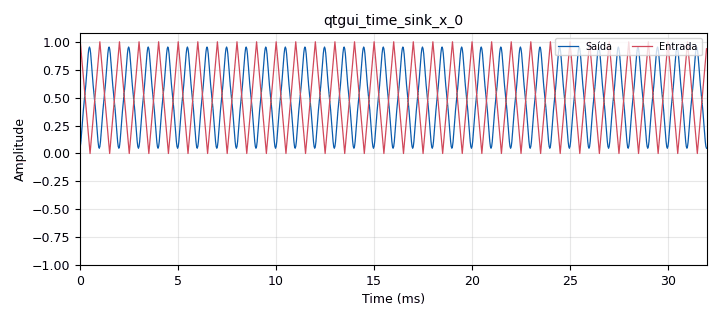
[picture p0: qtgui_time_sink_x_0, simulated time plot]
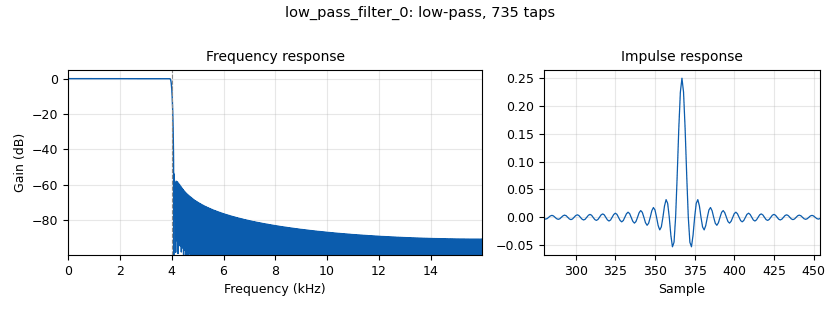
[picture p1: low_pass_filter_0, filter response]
options:
  parameters:
    generate_options: qt_gui
    id: DemoCanal
    output_language: python
    title: Not titled yet
  states: {}

blocks:
- name: samp_rate
  id: variable
  parameters:
    value: '32000'
  states: {}
- name: analog_sig_source_x_0
  id: analog_sig_source_x
  parameters:
    amp: '1'
    freq: '1000'
    offset: '0'
    phase: '0'
    samp_rate: samp_rate
    type: float
    waveform: analog.GR_TRI_WAVE
  states: {}
- name: audio_source_0
  id: audio_source
  parameters:
    samp_rate: samp_rate
  states: {state: disabled}
- name: blocks_add_xx_0
  id: blocks_add_xx
  parameters:
    type: float
  states: {state: disabled}
- name: blocks_throttle_0
  id: blocks_throttle
  parameters:
    samples_per_second: samp_rate
    type: float
  states: {}
- name: low_pass_filter_0
  id: low_pass_filter
  parameters:
    cutoff_freq: '4000'
    decim: '1'
    gain: '1'
    samp_rate: samp_rate
    type: fir_filter_fff
    width: '105'
    win: firdes.WIN_HAMMING
  states: {}
- name: qtgui_time_sink_x_0
  id: qtgui_time_sink_x
  parameters:
    label1: Saída
    label2: Entrada
    nconnections: '2'
    size: '1024'
    srate: samp_rate
    type: float
  states: {}

connections:
- [analog_sig_source_x_0, '0', blocks_throttle_0, '0']
- [analog_sig_source_x_0, '0', low_pass_filter_0, '0']
- [audio_source_0, '0', blocks_throttle_0, '0']
- [blocks_throttle_0, '0', qtgui_time_sink_x_0, '1']
- [low_pass_filter_0, '0', qtgui_time_sink_x_0, '0']

metadata:
  file_format: 1
